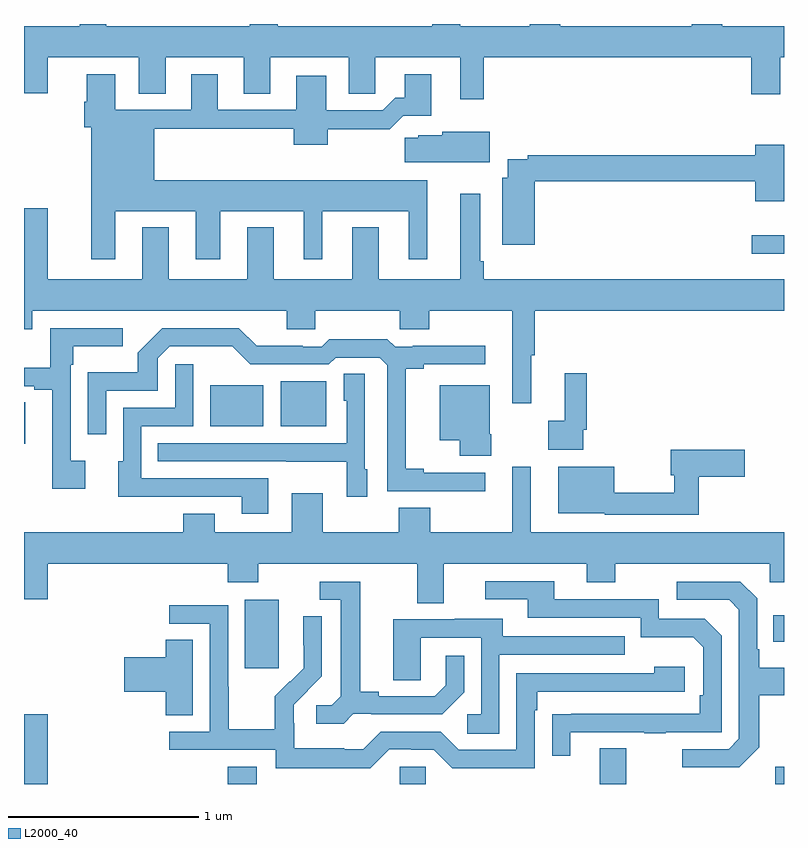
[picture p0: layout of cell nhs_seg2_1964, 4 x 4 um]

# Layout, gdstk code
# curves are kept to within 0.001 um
import gdstk
lib = gdstk.Library(unit=1e-6, precision=1e-09)
def R(c, l, rs):  # rectangles x0, y0, x1, y1
    for r in rs: c.add(gdstk.rectangle(r[:2], r[2:], *l))
def P(c, l, *ps):  # polygons
    for p in ps: c.add(gdstk.Polygon(p, *l))
L2000_40 = (2000, 40)

nhs_seg2_1964 = lib.new_cell('nhs_seg2_1964')
R(nhs_seg2_1964, L2000_40, [(213,655.8,213.124,656.167), (214.073,655.8,214.225,655.891), (214.977,655.8,215.115,655.89), (216.029,655.8,216.169,655.987), (216.953,655.8,217,655.891), (214.163,656.409,214.342,656.77), (216.943,656.549,217,656.689), (213,657.59,213.007,657.809), (213.98,657.683,214.258,657.898), (214.352,657.683,214.591,657.919), (216.831,658.592,217,658.689)])
P(nhs_seg2_1964, L2000_40, [(215.419,659.624),(216.827,659.624),(216.827,659.43),(216.979,659.43),(216.979,659.624),(217,659.624),(217,659.788),(216.675,659.788),(216.675,659.8),(216.515,659.8),(216.515,659.788),(215.822,659.788),(215.822,659.8),(215.662,659.8),(215.662,659.788),(215.295,659.788),(215.295,659.8),(215.148,659.8),(215.148,659.788),(214.335,659.788),(214.335,659.8),(214.187,659.8),(214.187,659.788),(213.433,659.788),(213.433,659.8),(213.293,659.8),(213.293,659.788),(213,659.788),(213,659.436),(213.124,659.436),(213.124,659.624),(213.605,659.624),(213.605,659.434),(213.745,659.434),(213.745,659.624),(214.157,659.624),(214.157,659.434),(214.297,659.434),(214.297,659.624),(214.709,659.624),(214.709,659.434),(214.848,659.434),(214.848,659.624),(215.297,659.624),(215.297,659.403),(215.419,659.403)],
  [(213.481,658.814),(213.905,658.814),(213.905,658.563),(214.033,658.563),(214.033,658.814),(214.472,658.814),(214.472,658.563),(214.57,658.563),(214.57,658.814),(215.024,658.814),(215.024,658.563),(215.122,658.563),(215.122,658.978),(213.685,658.978),(213.685,659.248),(214.421,659.248),(214.421,659.165),(214.599,659.165),(214.599,659.246),(214.925,659.246),(214.995,659.316),(215.143,659.316),(215.143,659.536),(215.003,659.536),(215.003,659.413),(214.954,659.413),(214.887,659.346),(214.591,659.346),(214.591,659.527),(214.433,659.527),(214.433,659.349),(214.021,659.349),(214.021,659.536),(213.881,659.536),(213.881,659.349),(213.481,659.349),(213.481,659.536),(213.329,659.536),(213.329,659.39),(213.317,659.39),(213.317,659.256),(213.353,659.256),(213.353,658.563),(213.481,658.563)],
  [(215.452,659.233),(215.202,659.233),(215.202,659.215),(215.076,659.215),(215.076,659.201),(215.004,659.201),(215.004,659.072),(215.452,659.072)],
  [(215.687,658.972),(216.848,658.972),(216.848,658.868),(217,658.868),(217,659.164),(216.848,659.164),(216.848,659.108),(215.65,659.108),(215.65,659.088),(215.546,659.088),(215.546,658.99),(215.516,658.99),(215.516,658.638),(215.687,658.638)],
  [(215.669,658.056),(215.687,658.056),(215.687,658.292),(217,658.292),(217,658.456),(215.419,658.456),(215.419,658.552),(215.401,658.552),(215.401,658.906),(215.297,658.906),(215.297,658.456),(214.867,658.456),(214.867,658.729),(214.727,658.729),(214.727,658.456),(214.315,658.456),(214.315,658.729),(214.175,658.729),(214.175,658.456),(213.763,658.456),(213.763,658.729),(213.623,658.729),(213.623,658.456),(213.124,658.456),(213.124,658.831),(213,658.831),(213,658.193),(213.043,658.193),(213.043,658.292),(214.382,658.292),(214.382,658.194),(214.533,658.194),(214.533,658.292),(214.978,658.292),(214.978,658.194),(215.133,658.194),(215.133,658.292),(215.57,658.292),(215.57,657.804),(215.669,657.804)],
  [(215.428,657.438),(215.104,657.438),(215.104,657.458),(215.009,657.458),(215.009,657.986),(215.104,657.986),(215.104,658.008),(215.428,658.008),(215.428,658.106),(215.047,658.106),(215.047,658.101),(214.953,658.101),(214.913,658.141),(214.606,658.141),(214.566,658.101),(214.466,658.101),(214.466,658.106),(214.226,658.106),(214.131,658.2),(213.728,658.2),(213.598,658.07),(213.598,657.967),(213.336,657.967),(213.336,657.642),(213.432,657.642),(213.432,657.87),(213.705,657.87),(213.705,658.041),(213.768,658.104),(214.097,658.103),(214.191,658.008),(214.605,658.008),(214.641,658.044),(214.872,658.044),(214.911,658.005),(214.911,657.342),(215.428,657.342)],
  [(213.322,657.502),(213.246,657.502),(213.246,658.007),(213.259,658.007),(213.259,658.103),(213.52,658.103),(213.52,658.2),(213.138,658.2),(213.138,657.992),(213,657.992),(213,657.894),(213.053,657.894),(213.053,657.876),(213.149,657.876),(213.149,657.354),(213.322,657.354)],
  [(214.285,657.408),(213.618,657.408),(213.618,657.684),(213.891,657.684),(213.891,658.009),(213.795,658.009),(213.795,657.78),(213.522,657.78),(213.522,657.498),(213.497,657.498),(213.497,657.311),(213.715,657.311),(213.715,657.312),(214.145,657.312),(214.145,657.222),(214.285,657.222)],
  [(215.943,657.664),(215.963,657.664),(215.963,657.961),(215.846,657.961),(215.846,657.713),(215.76,657.713),(215.76,657.56),(215.943,657.56)],
  [(214.807,657.456),(214.794,657.456),(214.794,657.959),(214.682,657.959),(214.682,657.816),(214.698,657.816),(214.698,657.594),(213.703,657.594),(213.703,657.498),(214.381,657.498),(214.381,657.497),(214.698,657.497),(214.698,657.312),(214.807,657.312)],
  [(215.46,657.64),(215.452,657.64),(215.452,657.898),(215.189,657.898),(215.189,657.608),(215.294,657.608),(215.294,657.528),(215.46,657.528)],
  [(216.551,657.418),(216.793,657.418),(216.793,657.56),(216.404,657.56),(216.404,657.425),(216.423,657.425),(216.423,657.332),(216.106,657.332),(216.106,657.469),(215.813,657.469),(215.813,657.224),(216.057,657.224),(216.057,657.216),(216.551,657.216)],
  [(213,656.772),(213.124,656.772),(213.124,656.96),(214.073,656.96),(214.073,656.861),(214.233,656.861),(214.233,656.96),(215.069,656.96),(215.069,656.752),(215.209,656.752),(215.209,656.96),(215.963,656.96),(215.963,656.861),(216.111,656.861),(216.111,656.96),(216.924,656.96),(216.924,656.861),(217,656.861),(217,657.124),(215.668,657.124),(215.668,657.469),(215.57,657.469),(215.57,657.124),(215.137,657.124),(215.137,657.253),(214.973,657.253),(214.973,657.124),(214.573,657.124),(214.573,657.331),(214.409,657.331),(214.409,657.124),(214.003,657.124),(214.003,657.223),(213.839,657.223),(213.839,657.124),(213,657.124)],
  [(215.875,656.073),(216.265,656.073),(216.265,656.068),(216.377,656.068),(216.377,656.073),(216.672,656.073),(216.672,656.58),(216.582,656.67),(216.342,656.67),(216.342,656.772),(215.791,656.772),(215.791,656.868),(215.427,656.868),(215.427,656.772),(215.651,656.772),(215.651,656.676),(216.246,656.676),(216.246,656.573),(216.523,656.573),(216.576,656.52),(216.576,656.266),(216.556,656.266),(216.556,656.169),(215.779,656.168),(215.779,655.95),(215.875,655.95)],
  [(214.734,656.169),(214.828,656.169),(214.828,656.166),(215.2,656.166),(215.316,656.282),(215.316,656.476),(215.219,656.476),(215.219,656.319),(215.162,656.262),(214.867,656.262),(214.867,656.285),(214.771,656.285),(214.771,656.865),(214.557,656.865),(214.557,656.769),(214.667,656.769),(214.667,656.261),(214.62,656.214),(214.539,656.214),(214.539,656.117),(214.682,656.117)],
  [(216.871,655.993),(216.871,656.266),(217,656.266),(217,656.413),(216.871,656.413),(216.871,656.509),(216.858,656.509),(216.858,656.778),(216.771,656.865),(216.435,656.865),(216.435,656.769),(216.711,656.769),(216.762,656.718),(216.762,656.037),(216.708,655.983),(216.465,655.983),(216.465,655.887),(216.765,655.887)],
  [(214.923,655.983),(215.039,655.983),(215.039,655.98),(215.157,655.98),(215.253,655.884),(215.688,655.884),(215.688,656.189),(215.701,656.189),(215.701,656.286),(216.478,656.286),(216.478,656.416),(216.317,656.416),(216.317,656.382),(215.592,656.382),(215.592,655.98),(215.289,655.98),(215.193,656.076),(214.878,656.076),(214.785,655.983),(214.685,655.983),(214.685,655.987),(214.422,655.987),(214.422,656.121),(214.42,656.121),(214.42,656.218),(214.566,656.366),(214.566,656.684),(214.47,656.684),(214.47,656.53),(214.472,656.53),(214.472,656.408),(214.401,656.337),(214.398,656.34),(214.321,656.263),(214.321,656.089),(214.077,656.089),(214.077,656.312),(214.074,656.312),(214.074,656.742),(213.765,656.742),(213.765,656.643),(213.978,656.643),(213.978,656.076),(213.765,656.076),(213.765,655.98),(214.326,655.98),(214.326,655.883),(214.823,655.883)],
  [(215.502,656.481),(216.161,656.481),(216.161,656.577),(215.521,656.577),(215.521,656.671),(215.267,656.671),(215.267,656.667),(214.943,656.667),(214.943,656.347),(215.088,656.347),(215.088,656.571),(215.406,656.571),(215.406,656.166),(215.334,656.166),(215.334,656.065),(215.502,656.065)],
  [(213.889,656.558),(213.746,656.558),(213.746,656.468),(213.528,656.468),(213.528,656.285),(213.746,656.285),(213.746,656.161),(213.889,656.161)])

lib.write_gds('nhs_seg2_1964.gds')
